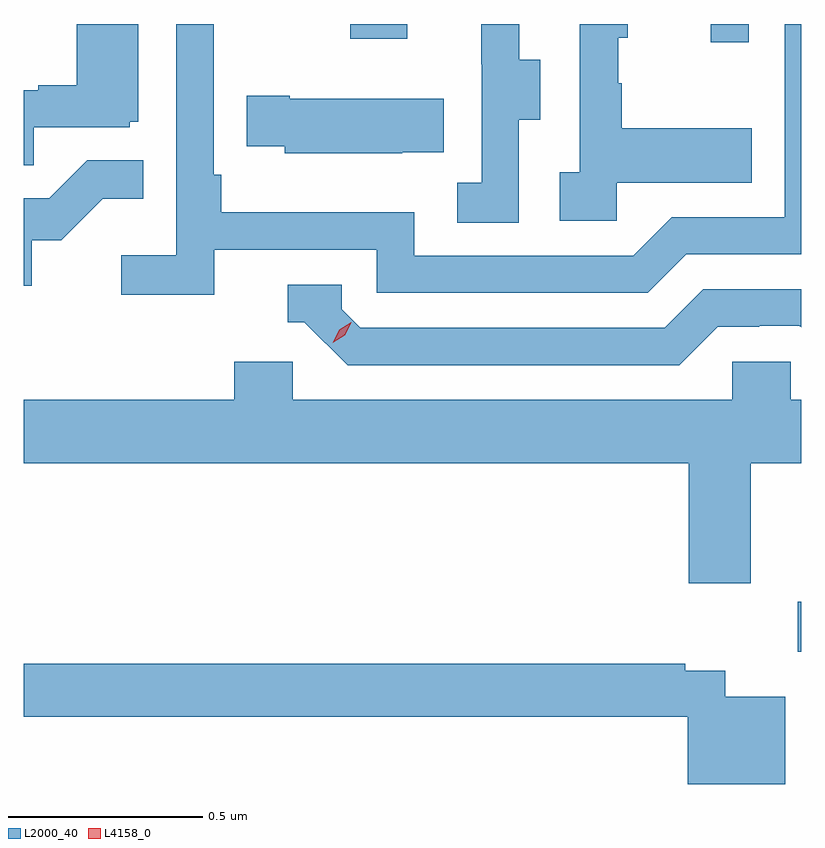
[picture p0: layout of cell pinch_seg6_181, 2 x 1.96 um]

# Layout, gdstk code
import gdstk
lib = gdstk.Library(unit=1e-6, precision=1e-09)
def R(c, l, rs):  # rectangles x0, y0, x1, y1
    for r in rs: c.add(gdstk.rectangle(r[:2], r[2:], *l))
def P(c, l, *ps):  # polygons
    for p in ps: c.add(gdstk.Polygon(p, *l))
L2000_40 = (2000, 40)
L4158_0 = (4158, 0)

pinch_seg6_181 = lib.new_cell('pinch_seg6_181')
R(pinch_seg6_181, L2000_40, [(1024.563,924.207,1024.572,924.336), (1024.34,925.776,1024.437,925.823), (1023.412,925.785,1023.559,925.823)])
P(pinch_seg6_181, L2000_40, [(1024.098,925.415),(1024.445,925.415),(1024.445,925.555),(1024.111,925.555),(1024.111,925.67),(1024.101,925.67),(1024.101,925.788),(1024.126,925.788),(1024.126,925.823),(1024.002,925.823),(1024.002,925.442),(1023.951,925.442),(1023.951,925.317),(1024.098,925.317)],
  [(1023.846,925.576),(1023.901,925.576),(1023.901,925.731),(1023.847,925.731),(1023.847,925.823),(1023.749,925.823),(1023.749,925.719),(1023.75,925.719),(1023.75,925.415),(1023.687,925.415),(1023.687,925.312),(1023.846,925.312)],
  [(1023.062,925.242),(1023.48,925.242),(1023.48,925.131),(1024.177,925.131),(1024.276,925.23),(1024.572,925.23),(1024.572,925.823),(1024.53,925.823),(1024.53,925.326),(1024.239,925.326),(1024.14,925.227),(1023.576,925.227),(1023.576,925.339),(1023.08,925.339),(1023.08,925.435),(1023.06,925.435),(1023.06,925.823),(1022.964,925.823),(1022.964,925.228),(1022.823,925.228),(1022.823,925.126),(1023.062,925.126)],
  [(1022.597,925.557),(1022.844,925.557),(1022.844,925.572),(1022.866,925.572),(1022.866,925.823),(1022.708,925.823),(1022.708,925.666),(1022.609,925.666),(1022.609,925.653),(1022.572,925.653),(1022.572,925.459),(1022.597,925.459)],
  [(1023.545,925.493),(1023.653,925.493),(1023.653,925.63),(1023.256,925.63),(1023.256,925.638),(1023.145,925.638),(1023.145,925.508),(1023.243,925.508),(1023.243,925.49),(1023.545,925.49)],
  [(1022.592,925.266),(1022.668,925.266),(1022.775,925.373),(1022.879,925.373),(1022.879,925.472),(1022.735,925.472),(1022.637,925.374),(1022.572,925.374),(1022.572,925.149),(1022.592,925.149)],
  [(1024.357,925.044),(1024.464,925.044),(1024.464,925.047),(1024.567,925.047),(1024.572,925.042),(1024.572,925.14),(1024.32,925.14),(1024.221,925.041),(1023.438,925.041),(1023.39,925.089),(1023.39,925.152),(1023.251,925.152),(1023.251,925.056),(1023.294,925.056),(1023.405,924.945),(1024.258,924.945)],
  [(1024.443,924.692),(1024.572,924.692),(1024.572,924.856),(1024.545,924.856),(1024.545,924.954),(1024.395,924.954),(1024.395,924.856),(1023.264,924.856),(1023.264,924.954),(1023.113,924.954),(1023.113,924.856),(1022.572,924.856),(1022.572,924.692),(1024.283,924.692),(1024.283,924.384),(1024.443,924.384)],
  [(1024.531,924.091),(1024.377,924.091),(1024.377,924.159),(1024.274,924.159),(1024.274,924.176),(1022.572,924.176),(1022.572,924.04),(1024.281,924.04),(1024.281,923.867),(1024.531,923.867)])
P(pinch_seg6_181, L4158_0, [(1023.367,925.003),(1023.367,925.003),(1023.383,925.036),(1023.414,925.055),(1023.414,925.055),(1023.414,925.054),(1023.398,925.022),(1023.367,925.003)])

lib.write_gds('pinch_seg6_181.gds')
